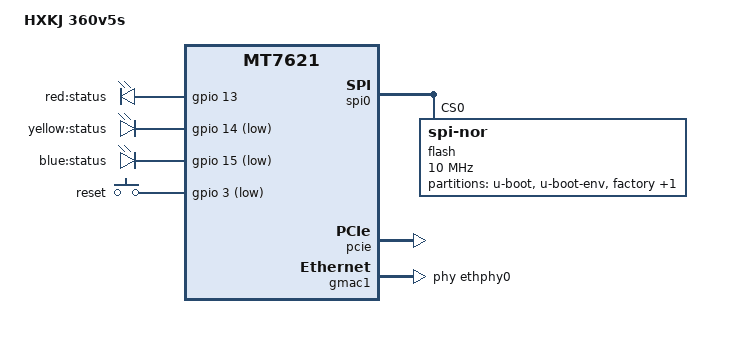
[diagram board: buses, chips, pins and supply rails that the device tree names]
#include "mt7621.dtsi"

#include <dt-bindings/gpio/gpio.h>
#include <dt-bindings/input/input.h>
#include <dt-bindings/leds/common.h>

/ {
	compatible = "hxkj,360v5s", "mediatek,mt7621-soc";
	model = "HXKJ 360v5s";

	aliases {
		led-boot = &led_blue;
		led-failsafe = &led_blue;
		led-running = &led_blue;
		led-upgrade = &led_blue;
	};

	leds {
		compatible = "gpio-leds";

		stat_r {
			label = "red:status";
			gpios = <&gpio 13 GPIO_ACTIVE_HIGH>;
		};

		stat_y {
			label = "yellow:status";
			gpios = <&gpio 14 GPIO_ACTIVE_LOW>;
		};

		led_blue: stat_b {
			label = "blue:status";
			gpios = <&gpio 15 GPIO_ACTIVE_LOW>;
		};
	};

	keys {
		compatible = "gpio-keys";

		reset {
			label = "reset";
			gpios = <&gpio 3 GPIO_ACTIVE_LOW>;
			linux,code = <KEY_RESTART>;
		};
	};
};

&spi0 {
	status = "okay";

	flash@0 {
		compatible = "jedec,spi-nor";
		reg = <0>;
		spi-max-frequency = <10000000>;

		partitions {
			compatible = "fixed-partitions";
			#address-cells = <1>;
			#size-cells = <1>;

			partition@0 {
				label = "u-boot";
				reg = <0x0 0x30000>;
				read-only;
			};

			partition@30000 {
				label = "u-boot-env";
				reg = <0x30000 0x10000>;
				read-only;
			};

			partition@40000 {
				label = "factory";
				reg = <0x40000 0x10000>;
				read-only;

				nvmem-layout {
					compatible = "fixed-layout";
					#address-cells = <1>;
					#size-cells = <1>;

					eeprom_factory_0: eeprom@0 {
						reg = <0x0 0x400>;
					};

					eeprom_factory_8000: eeprom@8000 {
						reg = <0x8000 0x200>;
					};

					macaddr_factory_e000: macaddr@e000 {
						reg = <0xe000 0x6>;
					};

					macaddr_factory_e006: macaddr@e006 {
						reg = <0xe006 0x6>;
					};
				};
			};

			partition@50000 {
				compatible = "denx,uimage";
				label = "firmware";
				reg = <0x50000 0xfb0000>;
			};
		};
	};
};

&pcie {
	status = "okay";
};

&pcie0 {
	mt76@0,0 {
		reg = <0x0000 0 0 0 0>;
		nvmem-cells = <&eeprom_factory_0>;
		nvmem-cell-names = "eeprom";
	};
};

&pcie1 {
	mt76@0,0 {
		reg = <0x0000 0 0 0 0>;
		nvmem-cells = <&eeprom_factory_8000>;
		nvmem-cell-names = "eeprom";
		ieee80211-freq-limit = <5000000 6000000>;

		led {
			led-sources = <2>;
			led-active-low;
		};
	};
};

&gmac0 {
	nvmem-cells = <&macaddr_factory_e000>;
	nvmem-cell-names = "mac-address";
};

&gmac1 {
	status = "okay";
	label = "wan";
	phy-handle = <&ethphy0>;

	nvmem-cells = <&macaddr_factory_e006>;
	nvmem-cell-names = "mac-address";
};

&ethphy0 {
	/delete-property/ interrupts;
};

&switch0 {
	ports {
		port@1 {
			status = "okay";
			label = "lan1";
		};

		port@2 {
			status = "okay";
			label = "lan2";
		};

		port@3 {
			status = "okay";
			label = "lan3";
		};

		port@4 {
			status = "okay";
			label = "lan4";
		};
	};
};

&state_default {
	gpio {
		groups = "i2c", "uart2", "uart3", "wdt";
		function = "gpio";
	};
};
